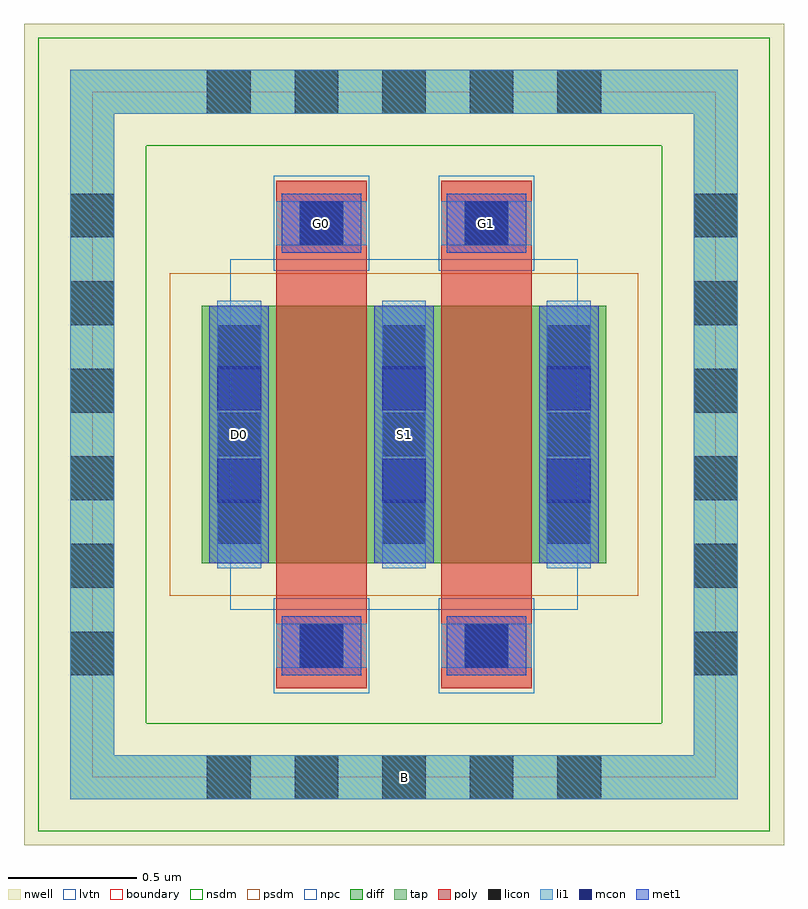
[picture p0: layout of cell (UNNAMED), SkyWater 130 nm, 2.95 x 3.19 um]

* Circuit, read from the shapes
.subckt (UNNAMED) B D0 G0 G1 S1
XM1 S1 G0 D0 B sky130_fd_pr__pfet_01v8_lvt w=1 l=0.35
XM2 n1 G1 S1 B sky130_fd_pr__pfet_01v8_lvt w=1 l=0.35
.ends

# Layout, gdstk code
import gdstk
lib = gdstk.Library(unit=1e-6, precision=1e-09)
def R(c, l, rs):  # rectangles x0, y0, x1, y1
    for r in rs: c.add(gdstk.rectangle(r[:2], r[2:], *l))
def A(c, l, x, y, w, h, nx, ny, dx, dy):  # array of equal rectangles
    R(c, l, [(x+i*dx, y+j*dy, x+i*dx+w, y+j*dy+h) for i in range(nx) for j in range(ny)])
nwell = (64, 20)
diff = (65, 20)
tap = (65, 44)
poly = (66, 20)
licon = (66, 44)
li1 = (67, 20)
mcon = (67, 44)
met1 = (68, 20)
nsdm = (93, 44)
psdm = (94, 20)
npc = (95, 20)
lvtn = (125, 44)
boundary = (235, 4)

c__unnamed_ = lib.new_cell('(UNNAMED)')
R(c__unnamed_, nwell, [(-1.475,-1.595,1.475,1.595)])
R(c__unnamed_, diff, [(-0.785,-0.5,0.785,0.5)])
R(c__unnamed_, tap, [(-1.295,-1.415,1.295,-1.245), (-1.295,-1.245,-1.125,1.245), (1.125,-1.245,1.295,1.245), (-1.295,1.245,1.295,1.415)])
R(c__unnamed_, poly, [(-0.495,-0.985,-0.145,0.985), (0.145,-0.985,0.495,0.985)])
A(c__unnamed_, licon, -0.765, -1.415, 0.17, 0.17, 5, 2, 0.34, 2.66)
A(c__unnamed_, licon, -1.295, -0.935, 0.17, 0.17, 1, 6, 0, 0.34)
A(c__unnamed_, licon, 1.125, -0.935, 0.17, 0.17, 1, 6, 0, 0.34)
A(c__unnamed_, licon, -0.725, -0.425, 0.17, 0.17, 3, 3, 0.64, 0.34)
R(c__unnamed_, licon, [(-0.405,-0.905,-0.235,-0.735), (0.235,-0.905,0.405,-0.735), (-0.405,0.735,-0.235,0.905), (0.235,0.735,0.405,0.905)])
A(c__unnamed_, li1, -0.725, -0.52, 0.17, 1.04, 3, 1, 0.64, 0)
R(c__unnamed_, li1, [(-1.295,-1.415,1.295,-1.245), (-1.295,-1.245,-1.125,1.245), (1.125,-1.245,1.295,1.245), (-0.495,-0.905,-0.145,-0.735), (0.145,-0.905,0.495,-0.735), (-0.495,0.735,-0.145,0.905), (0.145,0.735,0.495,0.905), (-1.295,1.245,1.295,1.415)])
A(c__unnamed_, mcon, -0.725, -0.265, 0.17, 0.17, 3, 2, 0.64, 0.36)
R(c__unnamed_, mcon, [(-0.405,-0.905,-0.235,-0.735), (0.235,-0.905,0.405,-0.735), (-0.405,0.735,-0.235,0.905), (0.235,0.735,0.405,0.905)])
A(c__unnamed_, met1, -0.755, -0.5, 0.23, 1, 3, 1, 0.64, 0)
R(c__unnamed_, met1, [(-0.475,-0.935,-0.165,-0.705), (0.165,-0.935,0.475,-0.705), (-0.475,0.705,-0.165,0.935), (0.165,0.705,0.475,0.935)])
R(c__unnamed_, nsdm, [(-1.42,-1.54,1.42,-1.12), (-1.42,-1.12,-1,1.12), (1,-1.12,1.42,1.12), (-1.42,1.12,1.42,1.54)])
R(c__unnamed_, psdm, [(-0.91,-0.625,0.91,0.625)])
R(c__unnamed_, npc, [(-0.505,-1.005,-0.135,-0.635), (0.135,-1.005,0.505,-0.635), (-0.505,0.635,-0.135,1.005), (0.135,0.635,0.505,1.005)])
R(c__unnamed_, lvtn, [(-0.675,-0.68,0.675,0.68)])
R(c__unnamed_, boundary, [(-1.21,-1.33,1.21,1.33)])
c__unnamed_.add(gdstk.Label('B', (0,-1.33), layer=67, texttype=5))
c__unnamed_.add(gdstk.Label('D0', (-0.64,0), layer=67, texttype=5))
c__unnamed_.add(gdstk.Label('G0', (-0.32,0.82), layer=67, texttype=5))
c__unnamed_.add(gdstk.Label('S1', (0,0), layer=67, texttype=5))
c__unnamed_.add(gdstk.Label('G1', (0.32,0.82), layer=67, texttype=5))

lib.write_gds('_UNNAMED_.gds')
